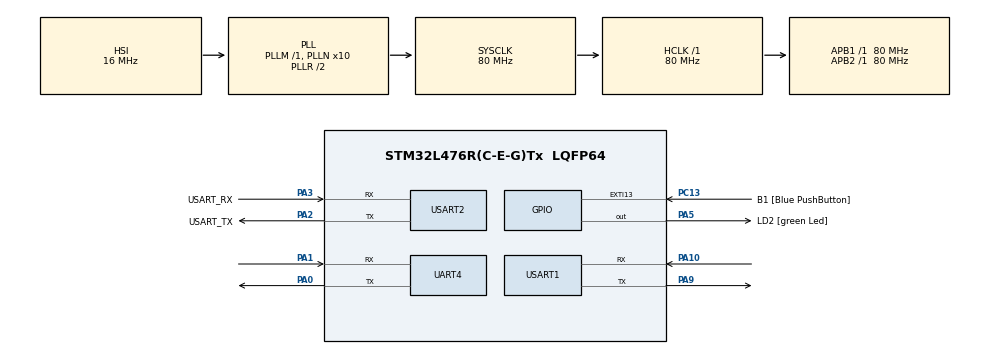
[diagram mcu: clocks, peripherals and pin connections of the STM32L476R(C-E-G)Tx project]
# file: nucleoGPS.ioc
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Mcu.Family=STM32L4
Dma.UART4_TX.1.PeriphDataAlignment=DMA_PDATAALIGN_BYTE
PA2.GPIO_PuPd=GPIO_NOPULL
RCC.CortexFreq_Value=80000000
NVIC.DMA1_Channel5_IRQn=true\:0\:0\:false\:false\:true\:false\:true
PH0-OSC_IN\ (PH0).Signal=RCC_OSC_IN
Dma.USART1_RX.2.Instance=DMA1_Channel5
PA3.GPIO_PuPd=GPIO_NOPULL
PA2.GPIO_Speed=GPIO_SPEED_FREQ_VERY_HIGH
PC15-OSC32_OUT\ (PC15).Mode=LSE-External-Oscillator
PC13.GPIO_Label=B1 [Blue PushButton]
PA3.GPIO_Speed=GPIO_SPEED_FREQ_VERY_HIGH
RCC.SYSCLKSource=RCC_SYSCLKSOURCE_PLLCLK
ProjectManager.StackSize=0x800
PB3\ (JTDO-TRACESWO).Signal=SYS_JTDO-SWO
PC14-OSC32_IN\ (PC14).Mode=LSE-External-Oscillator
PA14\ (JTCK-SWCLK).Signal=SYS_JTCK-SWCLK
RCC.HCLKFreq_Value=80000000
RCC.APB2TimFreq_Value=80000000
RCC.AHBFreq_Value=80000000
RCC.PREFETCH_ENABLE=1
NVIC.DMA2_Channel5_IRQn=true\:0\:0\:false\:false\:true\:false\:true
RCC.HSE_VALUE=8000000
USART2.VirtualMode-Asynchronous=VM_ASYNC
Dma.UART4_TX.1.Mode=DMA_CIRCULAR
Dma.UART4_RX.0.MemDataAlignment=DMA_MDATAALIGN_BYTE
PA5.GPIO_PuPd=GPIO_NOPULL
PA0.Mode=Asynchronous
PC13.GPIO_PuPd=GPIO_NOPULL
Dma.UART4_RX.0.PeriphDataAlignment=DMA_PDATAALIGN_BYTE
NVIC.DMA2_Channel3_IRQn=true\:0\:0\:false\:false\:true\:false\:true
PA0.Signal=UART4_TX
Mcu.Package=LQFP64
Dma.UART4_TX.1.MemInc=DMA_MINC_ENABLE
PA2.GPIO_Label=USART_TX
Dma.UART4_TX.1.PeriphInc=DMA_PINC_DISABLE
PA10.Signal=USART1_RX
Dma.Request2=USART1_RX
Dma.Request1=UART4_TX
RCC.APB1TimFreq_Value=80000000
PA13\ (JTMS-SWDIO).Signal=SYS_JTMS-SWDIO
NVIC.USART1_IRQn=true\:0\:0\:false\:false\:true\:true\:true
Dma.Request0=UART4_RX
Dma.USART1_RX.2.MemDataAlignment=DMA_MDATAALIGN_BYTE
PA3.Signal=USART2_RX
NVIC.UART4_IRQn=true\:0\:0\:false\:false\:true\:true\:true
PA2.GPIO_Mode=GPIO_MODE_AF_PP
Dma.UART4_RX.0.MemInc=DMA_MINC_ENABLE
RCC.MSI_VALUE=4000000
RCC.PLLSourceVirtual=RCC_PLLSOURCE_HSI
PA14\ (JTCK-SWCLK).Mode=Serial_Wire
PA10.Mode=Asynchronous
PC13.Signal=GPXTI13
Dma.UART4_RX.0.Mode=DMA_CIRCULAR
PC15-OSC32_OUT\ (PC15).Signal=RCC_OSC32_OUT
PA14\ (JTCK-SWCLK).GPIO_Label=TCK
PB3\ (JTDO-TRACESWO).GPIO_Label=SWO
Dma.USART1_RX.2.PeriphInc=DMA_PINC_DISABLE
PH1-OSC_OUT\ (PH1).Signal=RCC_OSC_OUT
USART1.VirtualMode-Asynchronous=VM_ASYNC
PA3.Mode=Asynchronous
PA9.Mode=Asynchronous
Dma.UART4_RX.0.Direction=DMA_PERIPH_TO_MEMORY
ProjectManager.TargetToolchain=Makefile
Dma.UART4_TX.1.Instance=DMA2_Channel3
PA3.GPIO_Mode=GPIO_MODE_AF_PP
Dma.USART1_RX.2.Mode=DMA_CIRCULAR
Dma.USART1_RX.2.PeriphDataAlignment=DMA_PDATAALIGN_BYTE
PA9.Signal=USART1_TX
RCC.USBFreq_Value=64000000
Dma.UART4_RX.0.PeriphInc=DMA_PINC_DISABLE
PA1.Signal=UART4_RX
PA5.Signal=GPIO_Output
board=NUCLEO-L476RG
RCC.VCOOutputFreq_Value=160000000
Dma.USART1_RX.2.Priority=DMA_PRIORITY_LOW
Dma.UART4_RX.0.Priority=DMA_PRIORITY_HIGH
RCC.APB2Freq_Value=80000000
PA1.Mode=Asynchronous
Dma.USART1_RX.2.Direction=DMA_PERIPH_TO_MEMORY
PA5.GPIO_ModeDefaultOutputPP=GPIO_MODE_OUTPUT_PP
PA13\ (JTMS-SWDIO).GPIO_Label=TMS
RCC.ADCFreq_Value=64000000
Mcu.Name=STM32L476R(C-E-G)Tx
Dma.USART1_RX.2.MemInc=DMA_MINC_ENABLE
PA2.Signal=USART2_TX
PA13\ (JTMS-SWDIO).Mode=Serial_Wire
RCC.SYSCLKFreq_VALUE=80000000
PA5.GPIO_Label=LD2 [green Led]
PC13.GPIO_ModeDefaultEXTI=GPIO_MODE_IT_FALLING
PC14-OSC32_IN\ (PC14).Signal=RCC_OSC32_IN
ProjectManager.HeapSize=0x2000
Dma.UART4_TX.1.Priority=DMA_PRIORITY_LOW
RCC.HSI_VALUE=16000000
PA5.GPIO_Speed=GPIO_SPEED_FREQ_LOW
NVIC.PriorityGroup=NVIC_PRIORITYGROUP_4
RCC.PLLN=10
Dma.UART4_RX.0.Instance=DMA2_Channel5
Dma.UART4_TX.1.MemDataAlignment=DMA_MDATAALIGN_BYTE
PA2.Mode=Asynchronous
RCC.APB1Freq_Value=80000000
PA3.GPIO_Label=USART_RX
Dma.UART4_TX.1.Direction=DMA_MEMORY_TO_PERIPH

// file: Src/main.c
/* USER CODE BEGIN Header */
/**
  ******************************************************************************
  * @file           : main.c
  * @brief          : Main program body
  ******************************************************************************
  * @attention
  *
  * <h2><center>&copy; Copyright (c) 2020 STMicroelectronics.
  * All rights reserved.</center></h2>
  *
  * This software component is licensed by ST under BSD 3-Clause license,
  * the "License"; You may not use this file except in compliance with the
  * License. You may obtain a copy of the License at:
  *                        opensource.org/licenses/BSD-3-Clause
  *
  ******************************************************************************
  */
/* USER CODE END Header */

#include "main.h"

/* USER CODE BEGIN Includes */
#include "string.h"
/* USER CODE END Includes */

/* USER CODE BEGIN PD */
#define LINEMAX 200
/* USER CODE END PD */

UART_HandleTypeDef huart4;
UART_HandleTypeDef huart1;
UART_HandleTypeDef huart2;
DMA_HandleTypeDef hdma_uart4_rx;
DMA_HandleTypeDef hdma_uart4_tx;
DMA_HandleTypeDef hdma_usart1_rx;

/* USER CODE BEGIN PV */
uint8_t aRxBuffer[1];

char line_buffer[LINEMAX + 1]; // Holding buffer with space for terminating NUL
volatile int line_valid = 0;
static char rx_buffer[LINEMAX];   // Local holding buffer to build line
static int rx_index = 0;
/* USER CODE END PV */

void SystemClock_Config(void);
static void MX_GPIO_Init(void);
static void MX_DMA_Init(void);
static void MX_UART4_Init(void);
static void MX_USART2_UART_Init(void);
static void MX_USART1_UART_Init(void);

/* USER CODE BEGIN 0 */
void debugPrint( char _out[]){
  HAL_UART_Transmit(&huart2, (uint8_t *) _out, strlen(_out), 10);
}

void debugPrintln( char _out[]){
  HAL_UART_Transmit(&huart2, (uint8_t *) _out, strlen(_out), 10);
  char newline[2] = "\r\n";
  HAL_UART_Transmit(&huart2, (uint8_t *) newline, 2, 10);
}

void HAL_UART_RxCpltCallback(UART_HandleTypeDef *huart){

  if(huart->Instance==USART1){
  HAL_UART_Receive_IT(&huart1, (uint8_t *)aRxBuffer, 1);

  char *rx = (char *)aRxBuffer;

  if (strcmp(rx,"\n") == 0 ){
    if(rx_index != 0)
    // debugPrint("end");
    {
        memcpy((void *)line_buffer, rx_buffer, rx_index); // Copy to static line buffer from dynamic receive buffer
        line_buffer[rx_index] = 0; // Add terminating NUL
        line_valid = 1; // flag new line valid for processing

        rx_index = 0; // Reset content pointer
        debugPrint(line_buffer);
    }
  } else {
    if (strcmp(rx,"$") == 0){
      rx_index = 0;
      // debugPrint("start- ");
    }
    strncat(rx_buffer,rx,1);
    rx_index++;
  }
  }
}

/* USER CODE END 0 */

int main(void)
{

  /* MCU Configuration--------------------------------------------------------*/

  /* Reset of all peripherals, Initializes the Flash interface and the Systick. */
  HAL_Init();

  /* Configure the system clock */
  SystemClock_Config();

  /* Initialize all configured peripherals */
  MX_GPIO_Init();
  MX_DMA_Init();
  MX_UART4_Init();
  MX_USART2_UART_Init();
  MX_USART1_UART_Init();
  /* USER CODE BEGIN 2 */

  debugPrintln("started");

  if(HAL_UART_Receive_IT(&huart1, (uint8_t *)aRxBuffer, 1) != HAL_OK)
  {
    Error_Handler();
  }

  /* USER CODE END 2 */

  /* Infinite loop */
  /* USER CODE BEGIN WHILE */
  while (1)
  {
    if (line_valid == 1){
      debugPrint(line_buffer);
      debugPrintln(rx_index);
      line_valid = 0;

    }
    /* USER CODE END WHILE */

  }
}

void SystemClock_Config(void)
{
  RCC_OscInitTypeDef RCC_OscInitStruct = {0};
  RCC_ClkInitTypeDef RCC_ClkInitStruct = {0};
  RCC_PeriphCLKInitTypeDef PeriphClkInit = {0};

  /** Initializes the CPU, AHB and APB busses clocks
  */
  RCC_OscInitStruct.OscillatorType = RCC_OSCILLATORTYPE_HSI;
  RCC_OscInitStruct.HSIState = RCC_HSI_ON;
  RCC_OscInitStruct.HSICalibrationValue = RCC_HSICALIBRATION_DEFAULT;
  RCC_OscInitStruct.PLL.PLLState = RCC_PLL_ON;
  RCC_OscInitStruct.PLL.PLLSource = RCC_PLLSOURCE_HSI;
  RCC_OscInitStruct.PLL.PLLM = 1;
  RCC_OscInitStruct.PLL.PLLN = 10;
  RCC_OscInitStruct.PLL.PLLP = RCC_PLLP_DIV7;
  RCC_OscInitStruct.PLL.PLLQ = RCC_PLLQ_DIV2;
  RCC_OscInitStruct.PLL.PLLR = RCC_PLLR_DIV2;
  if (HAL_RCC_OscConfig(&RCC_OscInitStruct) != HAL_OK)
  {
    Error_Handler();
  }
  /** Initializes the CPU, AHB and APB busses clocks
  */
  RCC_ClkInitStruct.ClockType = RCC_CLOCKTYPE_HCLK|RCC_CLOCKTYPE_SYSCLK
                              |RCC_CLOCKTYPE_PCLK1|RCC_CLOCKTYPE_PCLK2;
  RCC_ClkInitStruct.SYSCLKSource = RCC_SYSCLKSOURCE_PLLCLK;
  RCC_ClkInitStruct.AHBCLKDivider = RCC_SYSCLK_DIV1;
  RCC_ClkInitStruct.APB1CLKDivider = RCC_HCLK_DIV1;
  RCC_ClkInitStruct.APB2CLKDivider = RCC_HCLK_DIV1;

  if (HAL_RCC_ClockConfig(&RCC_ClkInitStruct, FLASH_LATENCY_4) != HAL_OK)
  {
    Error_Handler();
  }
  PeriphClkInit.PeriphClockSelection = RCC_PERIPHCLK_USART1|RCC_PERIPHCLK_USART2
                              |RCC_PERIPHCLK_UART4;
  PeriphClkInit.Usart1ClockSelection = RCC_USART1CLKSOURCE_PCLK2;
  PeriphClkInit.Usart2ClockSelection = RCC_USART2CLKSOURCE_PCLK1;
  PeriphClkInit.Uart4ClockSelection = RCC_UART4CLKSOURCE_PCLK1;
  if (HAL_RCCEx_PeriphCLKConfig(&PeriphClkInit) != HAL_OK)
  {
    Error_Handler();
  }
  /** Configure the main internal regulator output voltage
  */
  if (HAL_PWREx_ControlVoltageScaling(PWR_REGULATOR_VOLTAGE_SCALE1) != HAL_OK)
  {
    Error_Handler();
  }
}

static void MX_UART4_Init(void)
{

  huart4.Instance = UART4;
  huart4.Init.BaudRate = 9600;
  huart4.Init.WordLength = UART_WORDLENGTH_8B;
  huart4.Init.StopBits = UART_STOPBITS_1;
  huart4.Init.Parity = UART_PARITY_NONE;
  huart4.Init.Mode = UART_MODE_TX_RX;
  huart4.Init.HwFlowCtl = UART_HWCONTROL_NONE;
  huart4.Init.OverSampling = UART_OVERSAMPLING_16;
  huart4.Init.OneBitSampling = UART_ONE_BIT_SAMPLE_DISABLE;
  huart4.AdvancedInit.AdvFeatureInit = UART_ADVFEATURE_NO_INIT;
  if (HAL_UART_Init(&huart4) != HAL_OK)
  {
    Error_Handler();
  }

}

static void MX_USART1_UART_Init(void)
{

  huart1.Instance = USART1;
  huart1.Init.BaudRate = 9600;
  huart1.Init.WordLength = UART_WORDLENGTH_8B;
  huart1.Init.StopBits = UART_STOPBITS_1;
  huart1.Init.Parity = UART_PARITY_NONE;
  huart1.Init.Mode = UART_MODE_TX_RX;
  huart1.Init.HwFlowCtl = UART_HWCONTROL_NONE;
  huart1.Init.OverSampling = UART_OVERSAMPLING_16;
  huart1.Init.OneBitSampling = UART_ONE_BIT_SAMPLE_DISABLE;
  huart1.AdvancedInit.AdvFeatureInit = UART_ADVFEATURE_NO_INIT;
  if (HAL_UART_Init(&huart1) != HAL_OK)
  {
    Error_Handler();
  }

}

static void MX_USART2_UART_Init(void)
{

  huart2.Instance = USART2;
  huart2.Init.BaudRate = 115200;
  huart2.Init.WordLength = UART_WORDLENGTH_8B;
  huart2.Init.StopBits = UART_STOPBITS_1;
  huart2.Init.Parity = UART_PARITY_NONE;
  huart2.Init.Mode = UART_MODE_TX_RX;
  huart2.Init.HwFlowCtl = UART_HWCONTROL_NONE;
  huart2.Init.OverSampling = UART_OVERSAMPLING_16;
  huart2.Init.OneBitSampling = UART_ONE_BIT_SAMPLE_DISABLE;
  huart2.AdvancedInit.AdvFeatureInit = UART_ADVFEATURE_NO_INIT;
  if (HAL_UART_Init(&huart2) != HAL_OK)
  {
    Error_Handler();
  }

}

static void MX_DMA_Init(void)
{

  /* DMA controller clock enable */
  __HAL_RCC_DMA2_CLK_ENABLE();
  __HAL_RCC_DMA1_CLK_ENABLE();

  /* DMA interrupt init */
  /* DMA1_Channel5_IRQn interrupt configuration */
  HAL_NVIC_SetPriority(DMA1_Channel5_IRQn, 0, 0);
  HAL_NVIC_EnableIRQ(DMA1_Channel5_IRQn);
  /* DMA2_Channel3_IRQn interrupt configuration */
  HAL_NVIC_SetPriority(DMA2_Channel3_IRQn, 0, 0);
  HAL_NVIC_EnableIRQ(DMA2_Channel3_IRQn);
  /* DMA2_Channel5_IRQn interrupt configuration */
  HAL_NVIC_SetPriority(DMA2_Channel5_IRQn, 0, 0);
  HAL_NVIC_EnableIRQ(DMA2_Channel5_IRQn);

}

static void MX_GPIO_Init(void)
{
  GPIO_InitTypeDef GPIO_InitStruct = {0};

  /* GPIO Ports Clock Enable */
  __HAL_RCC_GPIOC_CLK_ENABLE();
  __HAL_RCC_GPIOH_CLK_ENABLE();
  __HAL_RCC_GPIOA_CLK_ENABLE();
  __HAL_RCC_GPIOB_CLK_ENABLE();

  /*Configure GPIO pin Output Level */
  HAL_GPIO_WritePin(LD2_GPIO_Port, LD2_Pin, GPIO_PIN_RESET);

  /*Configure GPIO pin : B1_Pin */
  GPIO_InitStruct.Pin = B1_Pin;
  GPIO_InitStruct.Mode = GPIO_MODE_IT_FALLING;
  GPIO_InitStruct.Pull = GPIO_NOPULL;
  HAL_GPIO_Init(B1_GPIO_Port, &GPIO_InitStruct);

  /*Configure GPIO pin : LD2_Pin */
  GPIO_InitStruct.Pin = LD2_Pin;
  GPIO_InitStruct.Mode = GPIO_MODE_OUTPUT_PP;
  GPIO_InitStruct.Pull = GPIO_NOPULL;
  GPIO_InitStruct.Speed = GPIO_SPEED_FREQ_LOW;
  HAL_GPIO_Init(LD2_GPIO_Port, &GPIO_InitStruct);

}

void Error_Handler(void)
{
  /* USER CODE BEGIN Error_Handler_Debug */
  debugPrintln("error occured");
  /* User can add his own implementation to report the HAL error return state */

  /* USER CODE END Error_Handler_Debug */
}

/************************ (C) COPYRIGHT STMicroelectronics *****END OF FILE****/
